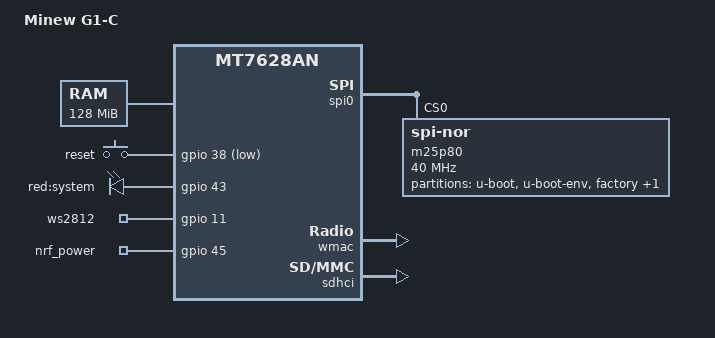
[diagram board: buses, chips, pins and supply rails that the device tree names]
// SPDX-License-Identifier: GPL-2.0-or-later OR MIT

#include "mt7628an.dtsi"

#include <dt-bindings/gpio/gpio.h>
#include <dt-bindings/input/input.h>

/ {
	model = "Minew G1-C";
	compatible = "minew,g1-c", "mediatek,mt7628an-soc";

	aliases {
		led-boot = &led_system;
		led-failsafe = &led_system;
		led-running = &led_system;
		led-upgrade = &led_system;
	};

	memory@0 {
		device_type = "memory";
		reg = <0x0 0x8000000>;
	};

	keys {
		compatible = "gpio-keys-polled";
		poll-interval = <20>;

		reset {
			label = "reset";
			gpios = <&gpio 38 GPIO_ACTIVE_LOW>;
			linux,code = <KEY_RESTART>;
		};
	};

	leds {
		compatible = "gpio-leds";

		led_system: system {
			label = "red:system";
			gpios = <&gpio 43 GPIO_ACTIVE_HIGH>;
			default-state = "on";
		};
	};

	gpio-export {
		compatible = "gpio-export";
		#size-cells = <0>;

		ws2812 {
			gpio-export,name = "ws2812";
			gpio-export,output = <1>;
			gpios = <&gpio 11 GPIO_ACTIVE_HIGH>;
		};

		nrf_power {
			gpio-export,name = "nrf_power";
			gpio-export,output = <1>;
			gpios = <&gpio 45 GPIO_ACTIVE_HIGH>;
		};
	};
};

&state_default {
	gpio {
		groups = "gpio";
		function = "gpio";
	};

	p0led_an {
		groups = "p0led_an";
		function = "gpio";
	};

	uart1 {
		groups = "uart1";
		function = "gpio";
	};

	wdt {
		groups = "wdt";
		function = "gpio";
	};
};

&spi0 {
	status = "okay";

	pinctrl-names = "default";
	pinctrl-0 = <&spi_pins>, <&spi_cs1_pins>;

	m25p80@0 {
		compatible = "jedec,spi-nor";
		reg = <0>;
		spi-max-frequency = <40000000>;

		partitions {
			compatible = "fixed-partitions";
			#address-cells = <1>;
			#size-cells = <1>;

			partition@0 {
				label = "u-boot";
				reg = <0x0 0x30000>;
				read-only;
			};

			partition@30000 {
				label = "u-boot-env";
				reg = <0x30000 0x10000>;
			};

			factory: partition@40000 {
				label = "factory";
				reg = <0x40000 0x10000>;
				read-only;
			};

			partition@50000 {
				compatible = "denx,uimage";
				label = "firmware";
				reg = <0x50000 0xfb0000>;
			};
		};
	};
};

&ethernet {
	mtd-mac-address = <&factory 0x28>;
};

&esw {
	mediatek,portmap = <0x3e>;
};

&wmac {
	status = "okay";
};

&sdhci {
	status = "okay";
	mediatek,cd-high;
};
